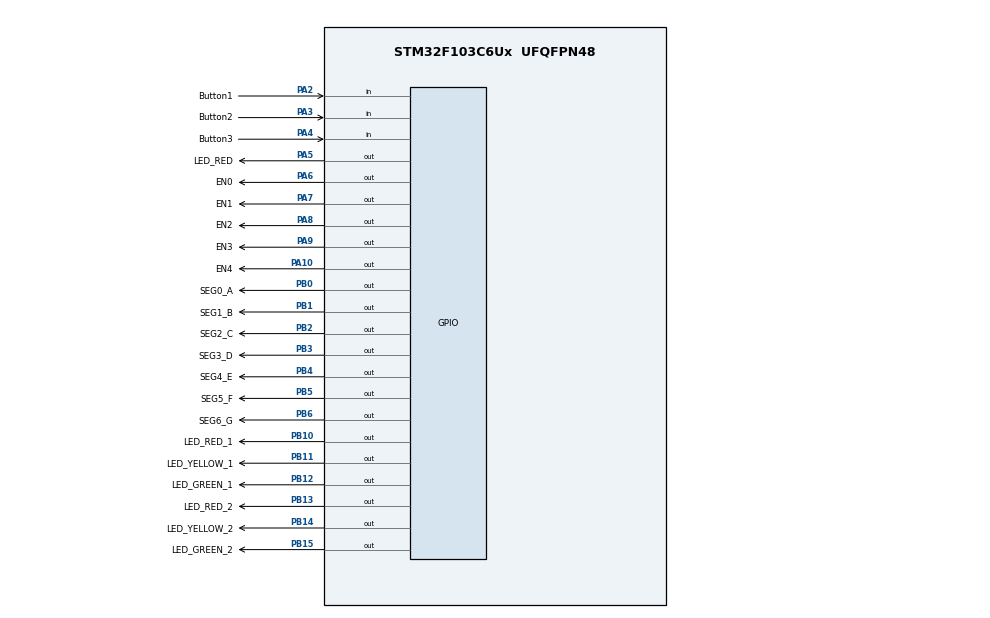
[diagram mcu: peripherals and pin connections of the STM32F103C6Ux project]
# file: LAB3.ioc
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Mcu.Family=STM32F1
Mcu.Name=STM32F103C6Ux
Mcu.Package=UFQFPN48
NVIC.PriorityGroup=NVIC_PRIORITYGROUP_4
NVIC.TIM2_IRQn=true\:0\:0\:false\:false\:true\:true\:true
PA10.GPIO_Label=EN4
PA10.Signal=GPIO_Output
PA2.GPIO_Label=Button1
PA2.GPIO_PuPd=GPIO_PULLUP
PA2.Signal=GPIO_Input
PA3.GPIO_Label=Button2
PA3.GPIO_PuPd=GPIO_PULLUP
PA3.Signal=GPIO_Input
PA4.GPIO_Label=Button3
PA4.GPIO_PuPd=GPIO_PULLUP
PA4.Signal=GPIO_Input
PA5.GPIO_Label=LED_RED
PA5.Signal=GPIO_Output
PA6.GPIO_Label=EN0
PA6.Signal=GPIO_Output
PA7.GPIO_Label=EN1
PA7.Signal=GPIO_Output
PA8.GPIO_Label=EN2
PA8.Signal=GPIO_Output
PA9.GPIO_Label=EN3
PA9.Signal=GPIO_Output
PB0.GPIO_Label=SEG0_A
PB0.Signal=GPIO_Output
PB1.GPIO_Label=SEG1_B
PB1.Signal=GPIO_Output
PB10.GPIO_Label=LED_RED_1
PB10.Signal=GPIO_Output
PB11.GPIO_Label=LED_YELLOW_1
PB11.Signal=GPIO_Output
PB12.GPIO_Label=LED_GREEN_1
PB12.Signal=GPIO_Output
PB13.GPIO_Label=LED_RED_2
PB13.Signal=GPIO_Output
PB14.GPIO_Label=LED_YELLOW_2
PB14.Signal=GPIO_Output
PB15.GPIO_Label=LED_GREEN_2
PB15.Signal=GPIO_Output
PB2.GPIO_Label=SEG2_C
PB2.Signal=GPIO_Output
PB3.GPIO_Label=SEG3_D
PB3.Signal=GPIO_Output
PB4.GPIO_Label=SEG4_E
PB4.Signal=GPIO_Output
PB5.GPIO_Label=SEG5_F
PB5.Signal=GPIO_Output
PB6.GPIO_Label=SEG6_G
PB6.Signal=GPIO_Output
ProjectManager.HeapSize=0x200
ProjectManager.StackSize=0x400
ProjectManager.TargetToolchain=STM32CubeIDE
RCC.APB1Freq_Value=8000000
RCC.APB2Freq_Value=8000000
TIM2.Period=9
TIM2.Prescaler=7999
VP_SYS_VS_ND.Mode=No_Debug
VP_TIM2_VS_ClockSourceINT.Mode=Internal
board=custom

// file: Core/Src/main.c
/* USER CODE BEGIN Header */
/**
  ******************************************************************************
  * @file           : main.c
  * @brief          : Main program body
  ******************************************************************************
  * @attention
  *
  * <h2><center>&copy; Copyright (c) 2022 STMicroelectronics.
  * All rights reserved.</center></h2>
  *
  * This software component is licensed by ST under BSD 3-Clause license,
  * the "License"; You may not use this file except in compliance with the
  * License. You may obtain a copy of the License at:
  *                        opensource.org/licenses/BSD-3-Clause
  *
  ******************************************************************************
  */
/* USER CODE END Header */
#include "main.h"

/* USER CODE BEGIN Includes */
#include "global.h"
#include "software_timer.h"
#include "button.h"
#include "update7SEG.h"
#include "fsm_automatic.h"
#include "led_display.h"
/* USER CODE END Includes */

TIM_HandleTypeDef htim2;

void SystemClock_Config(void);
static void MX_GPIO_Init(void);
static void MX_TIM2_Init(void);

int main(void)
{

  /* MCU Configuration--------------------------------------------------------*/

  /* Reset of all peripherals, Initializes the Flash interface and the Systick. */
  HAL_Init();

  /* Configure the system clock */
  SystemClock_Config();

  /* Initialize all configured peripherals */
  MX_GPIO_Init();
  MX_TIM2_Init();
  /* USER CODE BEGIN 2 */
  HAL_TIM_Base_Start_IT(&htim2);
  /* USER CODE END 2 */

  /* Infinite loop */
  /* USER CODE BEGIN WHILE */
  status_a = INIT;
  status_b = INIT;

  setTimer1(25);
  setTimer2(25);
  setTimer3(100);
  setTimer4(100);
  setTimer5(20);
  while (1)
  {
	  fsm_automatic_run_a();
	  fsm_automatic_run_b();
	  //update7SEG(index_led++);
	  //updateClockBuffer();
	  if (isButton1Pressed() == 1){
		  HAL_GPIO_TogglePin(LED_RED_GPIO_Port, LED_RED_Pin);
	  }

	  if (timer5_flag == 1){
		  updateClockBuffer();
		  reset7SEG();
		  if (index_led == 5 ) index_led = 0 ;
		  update7SEG(index_led++);
		  setTimer5(20);
	  }

	  if (timer3_flag == 1){
		  counter_1st--;
		  setTimer3(100);
	  }

	  if (timer4_flag == 1){
		  counter_2nd--;
	  	  setTimer4(100);
	  }

//	  if (timer3_flag == 1){
//	  	 reset7SEG();
//	  	 if (index_led == 5 ) index_led = 0 ;
//	  	 updateClockBuffer();
//	  	 update7SEG(index_led++);
//	  	 setTimer3(25);
//	  }
//
//	  if (timer4_flag == 1){
//	  	 reset7SEG();
//	  	 if (index_led == 5 ) index_led = 0 ;
//	  	 updateClockBuffer();
//	  	 update7SEG(index_led++);
//	  	 setTimer4(25);
//	  }

    /* USER CODE END WHILE */

  }
}

void SystemClock_Config(void)
{
  RCC_OscInitTypeDef RCC_OscInitStruct = {0};
  RCC_ClkInitTypeDef RCC_ClkInitStruct = {0};

  /** Initializes the RCC Oscillators according to the specified parameters
  * in the RCC_OscInitTypeDef structure.
  */
  RCC_OscInitStruct.OscillatorType = RCC_OSCILLATORTYPE_HSI;
  RCC_OscInitStruct.HSIState = RCC_HSI_ON;
  RCC_OscInitStruct.HSICalibrationValue = RCC_HSICALIBRATION_DEFAULT;
  RCC_OscInitStruct.PLL.PLLState = RCC_PLL_NONE;
  if (HAL_RCC_OscConfig(&RCC_OscInitStruct) != HAL_OK)
  {
    Error_Handler();
  }
  /** Initializes the CPU, AHB and APB buses clocks
  */
  RCC_ClkInitStruct.ClockType = RCC_CLOCKTYPE_HCLK|RCC_CLOCKTYPE_SYSCLK
                              |RCC_CLOCKTYPE_PCLK1|RCC_CLOCKTYPE_PCLK2;
  RCC_ClkInitStruct.SYSCLKSource = RCC_SYSCLKSOURCE_HSI;
  RCC_ClkInitStruct.AHBCLKDivider = RCC_SYSCLK_DIV1;
  RCC_ClkInitStruct.APB1CLKDivider = RCC_HCLK_DIV1;
  RCC_ClkInitStruct.APB2CLKDivider = RCC_HCLK_DIV1;

  if (HAL_RCC_ClockConfig(&RCC_ClkInitStruct, FLASH_LATENCY_0) != HAL_OK)
  {
    Error_Handler();
  }
}

static void MX_TIM2_Init(void)
{

  TIM_ClockConfigTypeDef sClockSourceConfig = {0};
  TIM_MasterConfigTypeDef sMasterConfig = {0};

  htim2.Instance = TIM2;
  htim2.Init.Prescaler = 7999;
  htim2.Init.CounterMode = TIM_COUNTERMODE_UP;
  htim2.Init.Period = 9;
  htim2.Init.ClockDivision = TIM_CLOCKDIVISION_DIV1;
  htim2.Init.AutoReloadPreload = TIM_AUTORELOAD_PRELOAD_DISABLE;
  if (HAL_TIM_Base_Init(&htim2) != HAL_OK)
  {
    Error_Handler();
  }
  sClockSourceConfig.ClockSource = TIM_CLOCKSOURCE_INTERNAL;
  if (HAL_TIM_ConfigClockSource(&htim2, &sClockSourceConfig) != HAL_OK)
  {
    Error_Handler();
  }
  sMasterConfig.MasterOutputTrigger = TIM_TRGO_RESET;
  sMasterConfig.MasterSlaveMode = TIM_MASTERSLAVEMODE_DISABLE;
  if (HAL_TIMEx_MasterConfigSynchronization(&htim2, &sMasterConfig) != HAL_OK)
  {
    Error_Handler();
  }

}

static void MX_GPIO_Init(void)
{
  GPIO_InitTypeDef GPIO_InitStruct = {0};

  /* GPIO Ports Clock Enable */
  __HAL_RCC_GPIOA_CLK_ENABLE();
  __HAL_RCC_GPIOB_CLK_ENABLE();

  /*Configure GPIO pin Output Level */
  HAL_GPIO_WritePin(GPIOA, LED_RED_Pin|EN0_Pin|EN1_Pin|EN2_Pin
                          |EN3_Pin|EN4_Pin, GPIO_PIN_RESET);

  /*Configure GPIO pin Output Level */
  HAL_GPIO_WritePin(GPIOB, SEG0_A_Pin|SEG1_B_Pin|SEG2_C_Pin|LED_RED_1_Pin
                          |LED_YELLOW_1_Pin|LED_GREEN_1_Pin|LED_RED_2_Pin|LED_YELLOW_2_Pin
                          |LED_GREEN_2_Pin|SEG3_D_Pin|SEG4_E_Pin|SEG5_F_Pin
                          |SEG6_G_Pin, GPIO_PIN_RESET);

  /*Configure GPIO pins : Button1_Pin Button2_Pin Button3_Pin */
  GPIO_InitStruct.Pin = Button1_Pin|Button2_Pin|Button3_Pin;
  GPIO_InitStruct.Mode = GPIO_MODE_INPUT;
  GPIO_InitStruct.Pull = GPIO_PULLUP;
  HAL_GPIO_Init(GPIOA, &GPIO_InitStruct);

  /*Configure GPIO pins : LED_RED_Pin EN0_Pin EN1_Pin EN2_Pin
                           EN3_Pin EN4_Pin */
  GPIO_InitStruct.Pin = LED_RED_Pin|EN0_Pin|EN1_Pin|EN2_Pin
                          |EN3_Pin|EN4_Pin;
  GPIO_InitStruct.Mode = GPIO_MODE_OUTPUT_PP;
  GPIO_InitStruct.Pull = GPIO_NOPULL;
  GPIO_InitStruct.Speed = GPIO_SPEED_FREQ_LOW;
  HAL_GPIO_Init(GPIOA, &GPIO_InitStruct);

  /*Configure GPIO pins : SEG0_A_Pin SEG1_B_Pin SEG2_C_Pin LED_RED_1_Pin
                           LED_YELLOW_1_Pin LED_GREEN_1_Pin LED_RED_2_Pin LED_YELLOW_2_Pin
                           LED_GREEN_2_Pin SEG3_D_Pin SEG4_E_Pin SEG5_F_Pin
                           SEG6_G_Pin */
  GPIO_InitStruct.Pin = SEG0_A_Pin|SEG1_B_Pin|SEG2_C_Pin|LED_RED_1_Pin
                          |LED_YELLOW_1_Pin|LED_GREEN_1_Pin|LED_RED_2_Pin|LED_YELLOW_2_Pin
                          |LED_GREEN_2_Pin|SEG3_D_Pin|SEG4_E_Pin|SEG5_F_Pin
                          |SEG6_G_Pin;
  GPIO_InitStruct.Mode = GPIO_MODE_OUTPUT_PP;
  GPIO_InitStruct.Pull = GPIO_NOPULL;
  GPIO_InitStruct.Speed = GPIO_SPEED_FREQ_LOW;
  HAL_GPIO_Init(GPIOB, &GPIO_InitStruct);

}

/* USER CODE BEGIN 4 */
void HAL_TIM_PeriodElapsedCallback(TIM_HandleTypeDef *htim){
	timerRun();
	getKeyInput1();
	getKeyInput2();
	getKeyInput3();
}
/* USER CODE END 4 */

void Error_Handler(void)
{
  __disable_irq();
  while (1)
  {
  }
}

/************************ (C) COPYRIGHT STMicroelectronics *****END OF FILE****/
